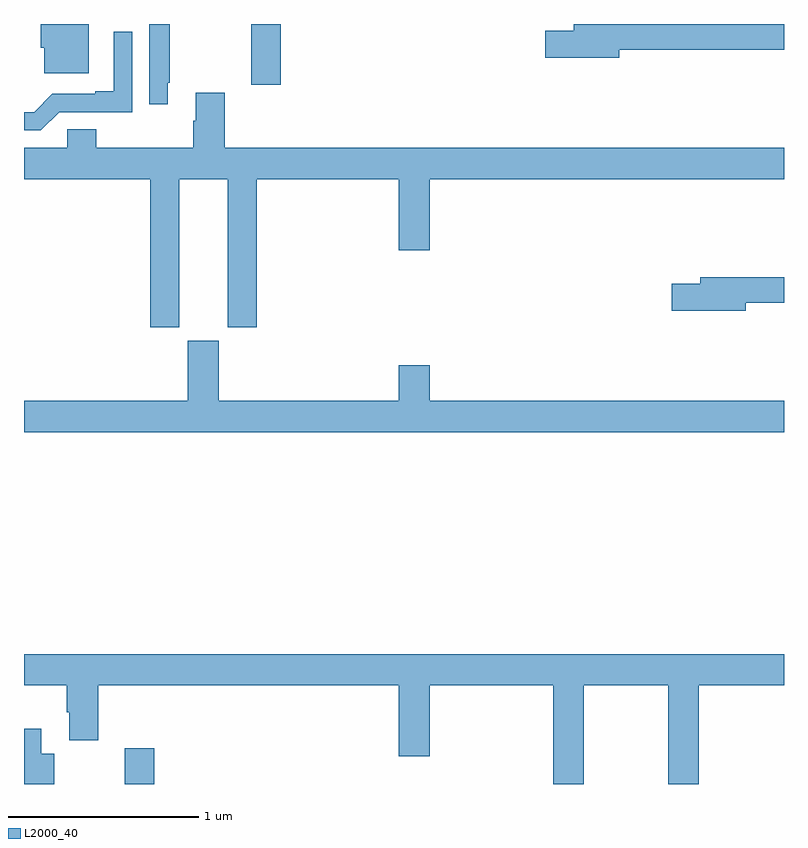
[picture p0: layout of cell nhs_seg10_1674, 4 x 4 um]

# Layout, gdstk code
import gdstk
lib = gdstk.Library(unit=1e-6, precision=1e-09)
def R(c, l, rs):  # rectangles x0, y0, x1, y1
    for r in rs: c.add(gdstk.rectangle(r[:2], r[2:], *l))
def P(c, l, *ps):  # polygons
    for p in ps: c.add(gdstk.Polygon(p, *l))
L2000_40 = (2000, 40)

nhs_seg10_1674 = lib.new_cell('nhs_seg10_1674')
R(nhs_seg10_1674, L2000_40, [(199.531,1262.5,199.685,1262.689), (200.197,1266.18,200.351,1266.5)])
P(nhs_seg10_1674, L2000_40, [(202.132,1266.364),(203,1266.364),(203,1266.5),(201.893,1266.5),(201.893,1266.464),(201.744,1266.464),(201.744,1266.322),(202.132,1266.322)],
  [(199.756,1266.19),(199.768,1266.19),(199.768,1266.5),(199.659,1266.5),(199.659,1266.078),(199.756,1266.078)],
  [(199.342,1266.5),(199.088,1266.5),(199.088,1266.375),(199.106,1266.375),(199.106,1266.242),(199.342,1266.242)],
  [(199.185,1266.036),(199.569,1266.036),(199.569,1266.46),(199.472,1266.46),(199.472,1266.145),(199.376,1266.145),(199.376,1266.132),(199.149,1266.132),(199.053,1266.036),(199,1266.036),(199,1265.94),(199.089,1265.94)],
  [(199.379,1265.946),(199.227,1265.946),(199.227,1265.848),(199,1265.848),(199,1265.684),(199.664,1265.684),(199.664,1264.905),(199.816,1264.905),(199.816,1265.684),(200.072,1265.684),(200.072,1264.905),(200.225,1264.905),(200.225,1265.684),(200.972,1265.684),(200.972,1265.31),(201.136,1265.31),(201.136,1265.684),(203,1265.684),(203,1265.848),(200.057,1265.848),(200.057,1266.139),(199.904,1266.139),(199.904,1265.99),(199.892,1265.99),(199.892,1265.848),(199.379,1265.848)],
  [(202.798,1265.032),(203,1265.032),(203,1265.168),(202.559,1265.168),(202.559,1265.132),(202.41,1265.132),(202.41,1264.99),(202.798,1264.99)],
  [(199.862,1264.833),(199.862,1264.516),(199,1264.516),(199,1264.352),(203,1264.352),(203,1264.516),(201.136,1264.516),(201.136,1264.705),(200.972,1264.705),(200.972,1264.516),(200.026,1264.516),(200.026,1264.833)],
  [(201.945,1263.02),(202.39,1263.02),(202.39,1262.5),(202.55,1262.5),(202.55,1263.02),(203,1263.02),(203,1263.184),(199,1263.184),(199,1263.02),(199.226,1263.02),(199.226,1262.878),(199.238,1262.878),(199.238,1262.73),(199.391,1262.73),(199.391,1263.02),(200.972,1263.02),(200.972,1262.646),(201.136,1262.646),(201.136,1263.02),(201.785,1263.02),(201.785,1262.5),(201.945,1262.5)],
  [(199.158,1262.659),(199.09,1262.659),(199.09,1262.791),(199,1262.791),(199,1262.5),(199.158,1262.5)])

lib.write_gds('nhs_seg10_1674.gds')
